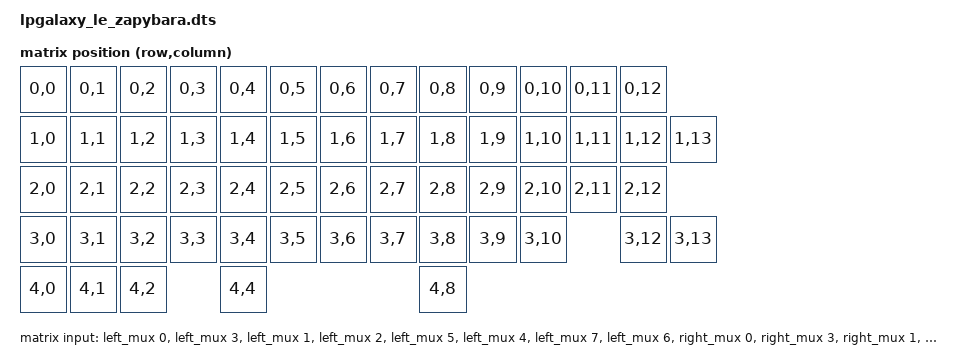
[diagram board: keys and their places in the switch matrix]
/*
 * Copyright (c) 2020 The ZMK Contributors
 *
 * SPDX-License-Identifier: MIT
 */

/dts-v1/;
#include <nordic/nrf52840_qiaa.dtsi>
#include <zephyr/dt-bindings/dt-util.h>
#include <zephyr/dt-bindings/adc/adc.h>
#include <zephyr/dt-bindings/gpio/nordic-nrf-gpio.h>
#include <dt-bindings/zmk/matrix_transform.h>
#include <freq.h>
#include <dt-bindings/gpio/gpio.h> // Required for GPIO flags
#include "lpgalaxy_le_zapybara-layout.dtsi"

&adc {
    status = "okay";

    #address-cells = <1>;
    #size-cells = <0>;

    channel@3 {
        reg = <3>;
        zephyr,gain = "ADC_GAIN_1_4";
        zephyr,reference = "ADC_REF_INTERNAL";
        zephyr,acquisition-time = <ADC_ACQ_TIME(ADC_ACQ_TIME_MICROSECONDS, 40)>;
        zephyr,resolution = <12>;
    };

    channel@1 {
        reg = <1>;
        zephyr,gain = "ADC_GAIN_1_4";
        zephyr,reference = "ADC_REF_INTERNAL";
        zephyr,acquisition-time = <ADC_ACQ_TIME(ADC_ACQ_TIME_MICROSECONDS, 3)>;
        zephyr,resolution = <12>;
    };
};


/ {
    chosen {
        zmk,kscan = &matrix;
        zephyr,code-partition = &code_partition;
        zephyr,sram = &sram0;
        zephyr,flash = &flash0;
	    zerhyr,console = &cdc_acm_uart;
	    zerhyr,shell-uart = &cdc_acm_uart;
        zmk,battery = &vbatt;
	    zmk,physical-layout = &layout_0;
    };

    /* mux enable and selection pins */
    left_mux: left_mux {
        compatible = "zmk,gpio-mux";
        select-gpios
            = <&gpio0 29 GPIO_ACTIVE_HIGH>
            , <&gpio0 30  GPIO_ACTIVE_HIGH>
            , <&gpio0 31 GPIO_ACTIVE_HIGH>
            ;
        gpio-controller;
        ngpios = <8>;
        #gpio-cells = <2>;
        en-gpios = <&gpio1 9 GPIO_ACTIVE_LOW>;
    };

    right_mux: right_mux {
        compatible = "zmk,gpio-mux";
        select-gpios
            = <&gpio0 29 GPIO_ACTIVE_HIGH>
            , <&gpio0 30  GPIO_ACTIVE_HIGH>
            , <&gpio0 31 GPIO_ACTIVE_HIGH>
            ;
        gpio-controller;
        ngpios = <8>;
        #gpio-cells = <2>;
        en-gpios = <&gpio1 10 GPIO_ACTIVE_LOW>;
    };

    matrix: matrix {
		compatible = "zmk,kscan-ec-matrix";

		matrix-relax-us = <800>;
		adc-read-settle-us = <1>;
		// trigger-percentage = <70>;
        io-channels = <&adc 1>;
        active-polling-interval-ms = <2>;
        idle-polling-interval-ms = <3>;
        drain-gpios = <&gpio0 2 (GPIO_ACTIVE_HIGH)>;
        power-gpios = <&gpio1 13 (GPIO_ACTIVE_HIGH)>;
		matrix-warm-up-us = <500>;

        strobe-gpios
		    = <&gpio0 13  (GPIO_ACTIVE_HIGH | NRF_GPIO_DRIVE_H0H1)>
            , <&gpio0 24 (GPIO_ACTIVE_HIGH | NRF_GPIO_DRIVE_H0H1)>
            , <&gpio0 3  (GPIO_ACTIVE_HIGH | NRF_GPIO_DRIVE_H0H1)>
            , <&gpio1 6  (GPIO_ACTIVE_HIGH | NRF_GPIO_DRIVE_H0H1)>
            , <&gpio1 11  (GPIO_ACTIVE_HIGH | NRF_GPIO_DRIVE_H0H1)>
            ;
    
        strobe-input-masks = <
            (BIT(13))
            0
            (BIT(13))
            (BIT(11))
            (BIT(3) + BIT(5) + BIT(6) + BIT(7) + BIT(9) + BIT(10) + BIT(11) + BIT(12) + BIT(13))
        >;

		input-gpios
            = <&left_mux 0 0>
            , <&left_mux 3 0>
            , <&left_mux 1 0>
            , <&left_mux 2 0>
            , <&left_mux 5 0>
            , <&left_mux 4 0>
            , <&left_mux 7 0>
            , <&left_mux 6 0>
            , <&right_mux 0 0>
            , <&right_mux 3 0>
            , <&right_mux 1 0>
            , <&right_mux 2 0>
            , <&right_mux 5 0>
            , <&right_mux 7 0>
			;
    };

    vbatt: vbatt {
        compatible = "zmk,battery-voltage-divider";
        io-channels = <&adc 3>;
        output-ohms = <2000000>;
        full-ohms = <(2000000 + 806000)>;
    };

    /* motion sensor interrupt */
    motion_interrupt_pin: motion_interrupt {
        compatible = "gpio-keys";
        my_pin: my_pin {
            gpios = <&gpio1 40 (GPIO_ACTIVE_HIGH | GPIO_PULL_DOWN)>;
        };
        wakeup-source;
    };

    transform: transform {
        compatible = "zmk,matrix-transform";
        rows = <5>;
        columns = <14>;

        map = <
        RC(0,0) RC(0,1) RC(0,2) RC(0,3) RC(0,4) RC(0,5) RC(0,6) RC(0,7) RC(0,8) RC(0,9) RC(0,10) RC(0,11) RC(0,12)
        RC(1,0) RC(1,1) RC(1,2) RC(1,3) RC(1,4) RC(1,5) RC(1,6) RC(1,7) RC(1,8) RC(1,9) RC(1,10) RC(1,11) RC(1,12) RC(1,13)
        RC(2,0) RC(2,1) RC(2,2) RC(2,3) RC(2,4) RC(2,5) RC(2,6) RC(2,7) RC(2,8) RC(2,9) RC(2,10) RC(2,11) RC(2,12)
        RC(3,0) RC(3,1) RC(3,2) RC(3,3) RC(3,4) RC(3,5) RC(3,6) RC(3,7) RC(3,8) RC(3,9) RC(3,10)          RC(3,12) RC(3,13)
        RC(4,0) RC(4,1) RC(4,2)         RC(4,4)                         RC(4,8)      
        >;
    };
};

/*
 * &pinctrl {
 *   spi1_default: spi1_default {
 *   };
 *
 *   spi1_sleep: spi1_sleep {
 *   };
 * };
 */

/* need to work on this wake up trigger */
// &spi1 {
//    status = "okay";
//    
//    pinctrl-0 = <&spi1_default>;
//    pinctrl-1 = <&spi1_sleep>;
//    pinctrl-names = "default", "sleep";
//
//    wakeup_trigger: wakeup_trigger@0 {
//        reg = <0>;
//
//        spi-max-frequency = <DT_FREQ_M(8)>;
//
//        compatible = "zmk,adxl362-awake-trigger";
//        wakeup-source;
//
//        linked-devices = <&matrix>;
//
//        wakeup_trigger_settings: normal {
//            activity-threshold = <18>;
//            activity-time = <0>;
//            inactivity-threshold = <60>;
//            inactivity-time = <100>;
//        };
//
//        wakeup_trigger_sleep_settings: sleep {
//            activity-threshold = <140>;
//            activity-time = <0>;
//            inactivity-threshold = <500>;
//            inactivity-time = <0>;
//        };
//    };
//};

&gpiote {
	status = "okay";
};

&gpio0 {
	status = "okay";
};

&gpio1 {
	status = "okay";
};

zephyr_udc0: &usbd {
	status = "okay";
        cdc_acm_uart: cdc_acm_uart {
                compatible = "zephyr,cdc-acm-uart";
        };
};

&flash0 {
	/*
	 * For more information, see:
	 * http://docs.zephyrproject.org/latest/devices/dts/flash_partitions.html
	 */
	partitions {
		compatible = "fixed-partitions";
		#address-cells = <1>;
		#size-cells = <1>;

		sd_partition: partition@0 {
			label = "mbr";
			reg = <0x00000000 0x00001000>;
		};
		code_partition: partition@1000 {
			label = "code_partition";
			reg = <0x00001000 0x000d3000>;
		};

		storage_partition: partition@d4000 {
			label = "storage";
			reg = <0x000d4000 0x00020000>;
		};

		boot_partition: partition@f4000 {
			label = "adafruit_boot";
			reg = <0x000f4000 0x0000c000>;
		};
	};
};

&adc {
    // Battery Sensing
    channel@3 {
        zephyr,input-positive = <NRF_SAADC_AIN3>; /* P0.05 */
    };

    // EC Read
    channel@1 {
        zephyr,input-positive = <NRF_SAADC_AIN4>; /* P0.28 */
    };
};

&matrix {
		precalib-avg-highs = <
            3509
            3278
            3054
            3106
            3633
            3004
            3474
            3652
            2868
            3550
            2930
            3621
            3548
            3636
            3343
            3430
            3581
            3584
            3253
            3609
            3651
            3318
            3271
            3345
            3643
            3495
            3578
            3281
            3258
            2842
            0
            0
            0
            3437
            3251
            2826
            3315
            0
            0
            0
	    >;
        precalib-avg-lows = <
            63
            63
            62
            81
            76
            63
            220
            68
            251
            64
            62
            68
            61
            74
            71
            65
            178
            66
            63
            72
            117
            68
            68
            79
            176
            407
            132
            127
            157
            120
            0
            0
            0
            63
            171
            61
            62
            0
            0
            0
	    >;
};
